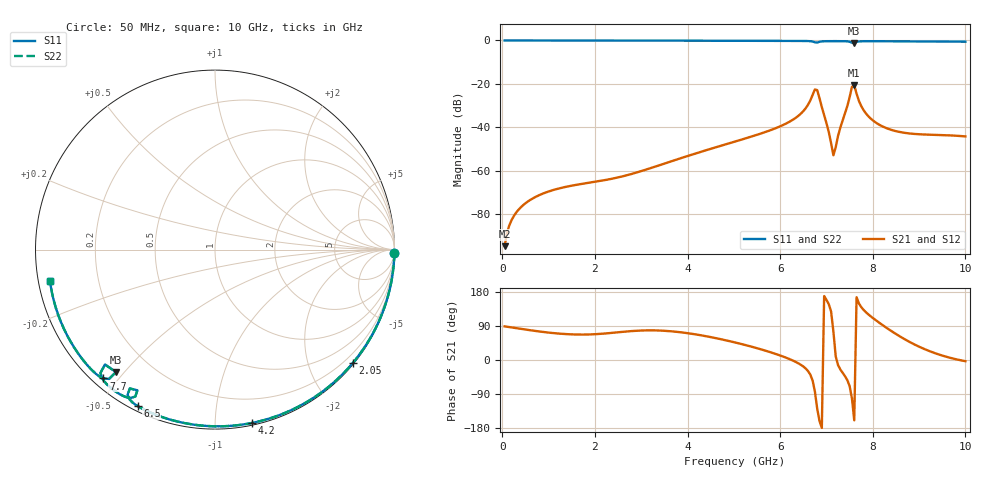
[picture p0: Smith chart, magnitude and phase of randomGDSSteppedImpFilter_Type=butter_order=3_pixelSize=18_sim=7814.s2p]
! freq	dB(S11)	phase(S11)	dB(S12)	phase(S12)
!  dB(S21)	phase(S21)	dB(S22)	phase(S22)
!S-par simulation data
#  GHz  S  DB  R 50
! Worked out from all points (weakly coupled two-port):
!   200 points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, 50 MHz to 10 GHz, reference 50 ohm
!   highest |S21| = -20.67 dB at 7.6 GHz (marker M1); lowest = -94.9 dB at 50 MHz (marker M2)
!   lowest |S11| = -1.1 dB at 7.6 GHz (marker M3), VSWR 15.26, Z = 4.02 - j23.7 ohm
!   |S11| at or under -10 dB: nowhere
!   |S22| runs from -1.1 to 0.0 dB; largest |S21 - S12| = 0
!   S11 on the Smith chart (normalised r, x): 50 MHz: open; 2.05 GHz: 0.03, -2.79; 4.2 GHz: 0.02, -1.24; 6.5 GHz: 0.02, -0.62; 7.7 GHz: 0.03, -0.46; 10 GHz: 0.03, -0.09
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0.05  -0.00 -1.0  -94.91 88.7  -94.91 88.7  -0.00 -1.0
0.25  -0.01 -4.9  -80.98 85.0  -80.98 85.0  -0.01 -4.9
0.55  -0.01 -10.8  -74.33 79.5  -74.33 79.5  -0.01 -10.8
0.9  -0.02 -17.5  -70.45 73.7  -70.45 73.7  -0.02 -17.5
1.75  -0.04 -33.8  -66.07 67.1  -66.07 67.1  -0.04 -33.8
2.05  -0.05 -39.4  -65.04 68.4  -65.04 68.4  -0.05 -39.4
3.4  -0.08 -64.0  -57.52 77.7  -57.52 77.7  -0.08 -64.0
4.2  -0.11 -77.8  -51.97 67.1  -51.97 67.1  -0.11 -77.8
5.05  -0.14 -92.1  -46.49 45.6  -46.49 45.6  -0.14 -92.1
6.05  -0.19 -108.5  -39.14 9.7  -39.14 9.7  -0.19 -108.5
6.5  -0.24 -116.3  -32.62 -17.2  -32.62 -17.2  -0.24 -116.3
6.7  -0.49 -121.0  -25.20 -53.7  -25.20 -53.7  -0.49 -121.0
6.75  -0.85 -121.5  -22.60 -83.2  -22.60 -83.2  -0.84 -121.5
6.8  -0.96 -118.9  -22.91 -128.3  -22.91 -128.3  -0.95 -118.9
7.05  -0.32 -122.9  -42.24 147.2  -42.24 147.2  -0.32 -122.9
7.15  -0.31 -124.9  -52.96 74.7  -52.96 74.7  -0.31 -124.9
7.55  -1.05 -133.8  -21.43 -101.2  -21.43 -101.2  -1.04 -133.7
7.6  -1.14 -129.0  -20.67 -159.3  -20.67 -159.3  -1.13 -129.0
7.7  -0.45 -130.9  -27.83 149.5  -27.83 149.5  -0.45 -130.9
7.95  -0.36 -136.2  -35.93 115.8  -35.93 115.8  -0.36 -136.2
8.35  -0.38 -142.8  -40.90 80.6  -40.90 80.6  -0.38 -142.8
10  -0.58 -169.3  -44.29 -3.2  -44.29 -3.2  -0.58 -169.3
